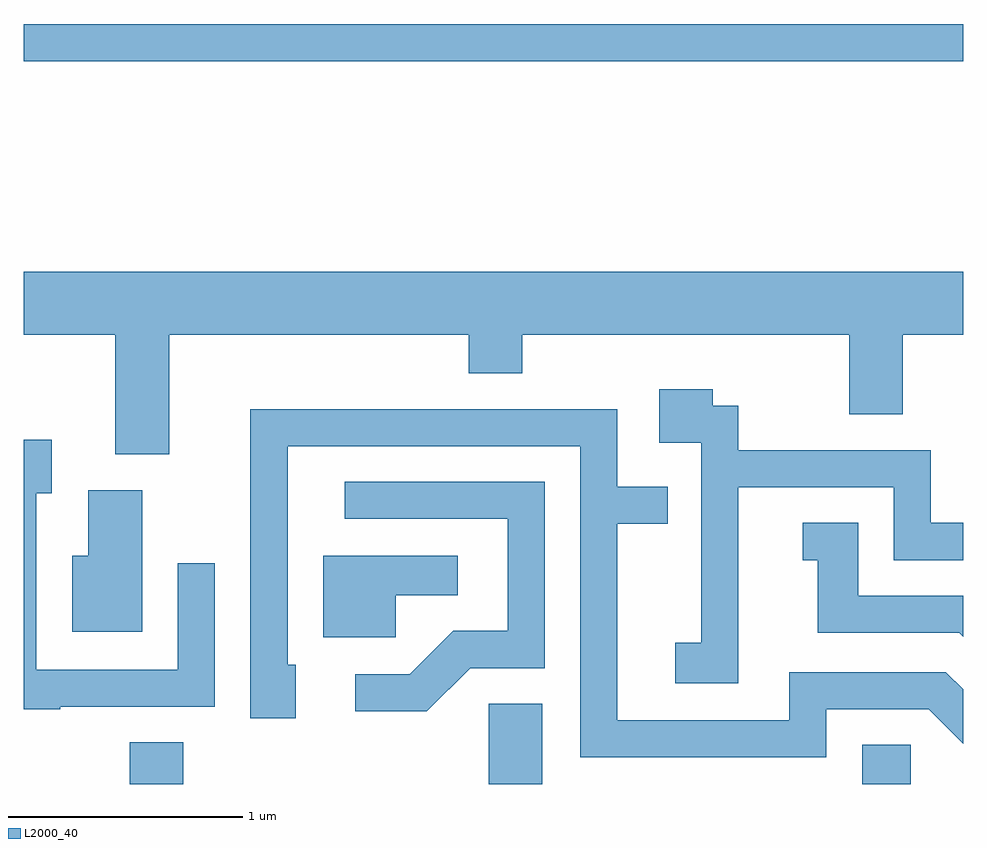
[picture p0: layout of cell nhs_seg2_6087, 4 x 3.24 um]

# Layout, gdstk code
import gdstk
lib = gdstk.Library(unit=1e-6, precision=1e-09)
def R(c, l, rs):  # rectangles x0, y0, x1, y1
    for r in rs: c.add(gdstk.rectangle(r[:2], r[2:], *l))
def P(c, l, *ps):  # polygons
    for p in ps: c.add(gdstk.Polygon(p, *l))
L2000_40 = (2000, 40)

nhs_seg2_6087 = lib.new_cell('nhs_seg2_6087')
R(nhs_seg2_6087, L2000_40, [(366.061,979.802,366.289,979.979), (367.591,979.802,367.819,980.144), (369.181,979.802,369.389,979.969), (365.611,982.881,369.611,983.039)])
P(nhs_seg2_6087, L2000_40, [(366.229,981.716),(367.506,981.716),(367.506,981.551),(367.734,981.551),(367.734,981.716),(369.126,981.716),(369.126,981.376),(369.354,981.376),(369.354,981.716),(369.611,981.716),(369.611,981.984),(365.611,981.984),(365.611,981.716),(366.001,981.716),(366.001,981.206),(366.229,981.206)],
  [(368.654,981.066),(369.316,981.066),(369.316,980.756),(369.611,980.756),(369.611,980.914),(369.474,980.914),(369.474,981.224),(368.654,981.224),(368.654,981.414),(368.544,981.414),(368.544,981.484),(368.316,981.484),(368.316,981.256),(368.496,981.256),(368.496,980.404),(368.386,980.404),(368.386,980.231),(368.654,980.231)],
  [(369.029,980.121),(369.464,980.121),(369.611,979.974),(369.611,980.205),(369.537,980.279),(368.871,980.279),(368.871,980.074),(368.139,980.074),(368.139,980.911),(368.353,980.911),(368.353,981.069),(368.139,981.069),(368.139,981.399),(366.576,981.399),(366.576,980.081),(366.769,980.081),(366.769,980.309),(366.734,980.309),(366.734,981.241),(367.981,981.241),(367.981,979.916),(369.029,979.916)],
  [(365.765,980.131),(366.424,980.131),(366.424,980.743),(366.266,980.743),(366.266,980.289),(365.664,980.289),(365.664,981.041),(365.729,981.041),(365.729,981.269),(365.611,981.269),(365.611,980.121),(365.765,980.121)],
  [(367.512,980.296),(367.829,980.296),(367.829,981.089),(366.978,981.089),(366.978,980.931),(367.671,980.931),(367.671,980.454),(367.439,980.454),(367.254,980.269),(367.023,980.269),(367.023,980.111),(367.327,980.111)],
  [(366.114,981.054),(365.886,981.054),(365.886,980.774),(365.816,980.774),(365.816,980.451),(366.114,980.451)],
  [(369.611,980.604),(369.164,980.604),(369.164,980.914),(368.928,980.914),(368.928,980.756),(368.991,980.756),(368.991,980.446),(369.594,980.446),(369.611,980.429)],
  [(367.194,980.606),(367.458,980.606),(367.458,980.774),(366.886,980.774),(366.886,980.426),(367.194,980.426)])

lib.write_gds('nhs_seg2_6087.gds')
